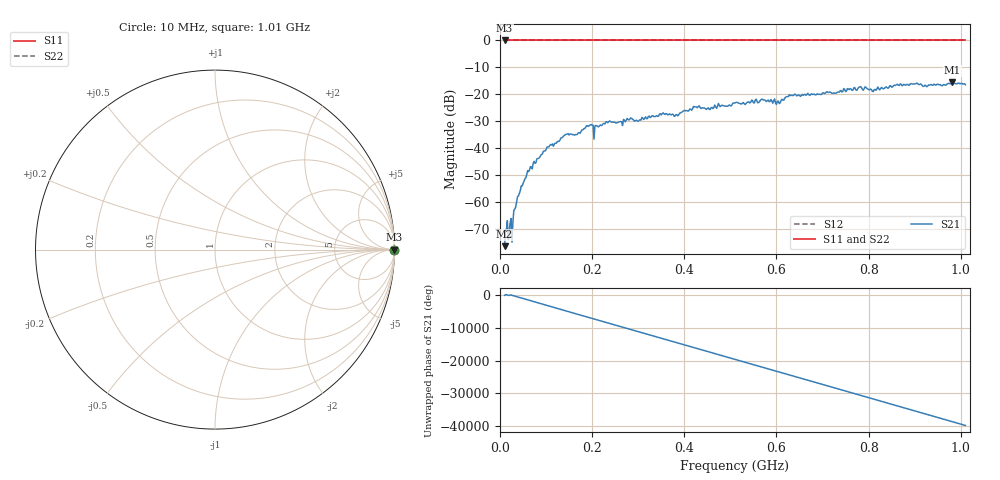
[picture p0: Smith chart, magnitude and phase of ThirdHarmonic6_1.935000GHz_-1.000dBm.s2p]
! 8/16/2025 11:19:10 PM
! C:\ANRITSUVNA\TEMP\TEMP.S2P
! CHANNEL.1
! TR.MEASUREMENT
! RAW.DATA
! RF.CORRECTION.OFF
! AVERAGING.OFF
! IF.BANDWIDTH: 5KHZ
! SWEEPTYPE:  FREQ.SWEEP(Linear)
! Reference Plane Port Info
! PORT:  PORT1  PORT2
! DISTANCE:  0  m  0  m
! TIME:  0  s  0  s
! PHASE.OFFSET:  0  deg.  0  deg.
! LOSS:  0  dB  0  dB
! REF.LOSS:  0  dB  0  dB
! REF.FREQ:  0  Hz  0  Hz
! Power Info
! POWER:  -20  dBm  -20  dBm
! EFF.POWER:  -20  dBm  -20  dBm
! SOURCE.ATTEN:  0  dB  0  dB
! TEST.ATTEN:  0  dB  0  dB
# GHZ S RI R 50.0
! FREQ.GHZ  S11RE  S11IM  S21RE  S21IM  S12RE  S12IM  S22RE  S22IM
!; PortSelection: Port_12
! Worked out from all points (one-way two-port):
!   501 points, 10 MHz to 1.01 GHz, reference 50 ohm
!   highest |S21| = -15.57 dB at 982 MHz (marker M1); lowest = -76.5 dB at 10 MHz (marker M2)
!   lowest |S11| = 0.0 dB at 10 MHz (marker M3)
!   |S11| at or under -10 dB: nowhere
!   |S22| runs from 0.0 to 0.0 dB; largest |S21 - S12| = 1.2
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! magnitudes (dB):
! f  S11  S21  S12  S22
! 10 MHz  0.0  -76.5  0.0  0.0
! 20 MHz  0.0  -71.3  0.0  0.0
! 22 MHz  0.0  -67.8  0.0  0.0
! 42 MHz  0.0  -56.9  0.0  0.0
! 64 MHz  0.0  -48.2  0.0  0.0
! 106 MHz  0.0  -39.6  0.0  0.0
! 144 MHz  0.0  -34.9  0.0  0.0
! 178 MHz  0.0  -33.3  0.0  0.0
! 198 MHz  0.0  -31.2  0.0  0.0
! 208 MHz  0.0  -31.7  0.0  0.0
! 234 MHz  0.0  -30.6  0.0  0.0
! 344 MHz  0.0  -28.2  0.0  0.0
! 382 MHz  0.0  -27.6  0.0  0.0
! 422 MHz  0.0  -24.7  0.0  0.0
! 452 MHz  0.0  -25.1  0.0  0.0
! 510 MHz  0.0  -23.3  0.0  0.0
! 604 MHz  0.0  -22.6  0.0  0.0
! 630 MHz  0.0  -20.5  0.0  0.0
! 678 MHz  0.0  -20.1  0.0  0.0
! 844 MHz  0.0  -17.5  0.0  0.0
! 982 MHz  0.0  -15.6  0.0  0.0
! 1.01 GHz  0.0  -16.5  0.0  0.0
